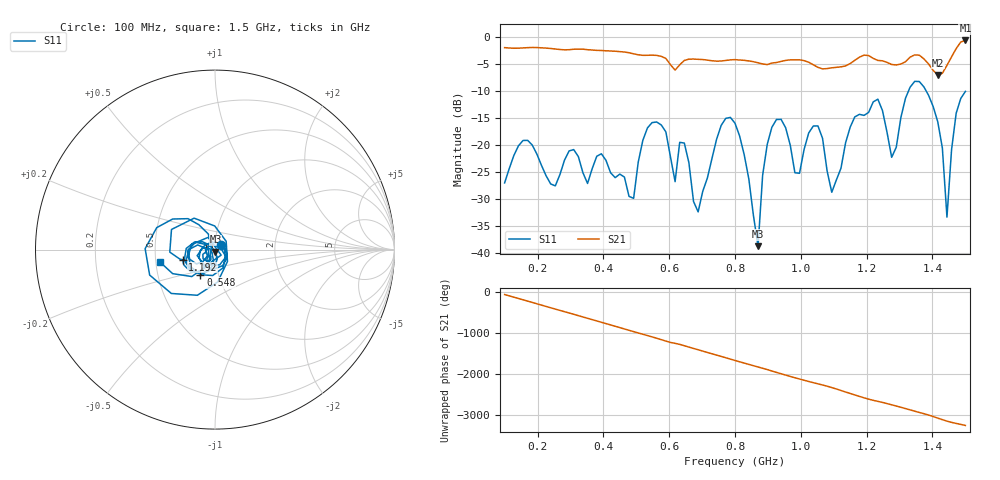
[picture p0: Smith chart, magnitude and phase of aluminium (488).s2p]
! NanoVNA-App
! Date: 2025-09-25 14:59:05
! Start: 100MHz Stop: 1,5GHz Points: 101
! S-Parameter data: F S11 S21 S12 S22
# Hz S RI R 50
!  Frequency  S11_Real  S11_Imag  S21_Real  S21_Imag  S12_Real  S12_Imag  S22_Real  S22_Imag
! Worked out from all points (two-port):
!   101 points, 100 MHz to 1.5 GHz, reference 50 ohm
!   highest |S21| = -0.59 dB at 1.5 GHz (marker M1); lowest = -7.0 dB at 1.416 GHz (marker M2)
!   |S21| within 3 dB of the highest: start of sweep to 578 MHz; 1.458 GHz to end of sweep (the widest 2 of 4)
!   lowest |S11| = -38.7 dB at 870 MHz (marker M3), VSWR 1.02, Z = 50.3 - j1.14 ohm
!   |S11| at or under -10 dB: start of sweep to 1.327 GHz; 1.381 GHz to end of sweep
!   S12 and S22 are empty: the file has one direction only
!   S11 on the Smith chart (normalised r, x): 100 MHz: 1.07, +0.06; 548 MHz: 0.82, -0.24; 1.192 GHz: 0.69, -0.08; 1.5 GHz: 0.52, -0.08
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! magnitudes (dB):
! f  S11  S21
! 100 MHz  -27.0  -1.9
! 156 MHz  -19.1  -2.0
! 338 MHz  -25.1  -2.2
! 492 MHz  -29.8  -3.1
! 548 MHz  -15.8  -3.3
! 576 MHz  -16.2  -3.5
! 646 MHz  -19.6  -4.3
! 688 MHz  -32.3  -4.1
! 800 MHz  -15.9  -4.1
! 870 MHz  -38.7  -4.7
! 912 MHz  -16.7  -4.8
! 996 MHz  -25.2  -4.2
! 1.038 GHz  -16.4  -5.1
! 1.094 GHz  -28.7  -5.7
! 1.192 GHz  -14.5  -3.3
! 1.234 GHz  -11.5  -4.3
! 1.276 GHz  -22.2  -5.0
! 1.346 GHz  -8.2  -3.3
! 1.416 GHz  -15.6  -7.0
! 1.444 GHz  -33.3  -5.2
! 1.472 GHz  -14.1  -2.1
! 1.5 GHz  -10.0  -0.6
